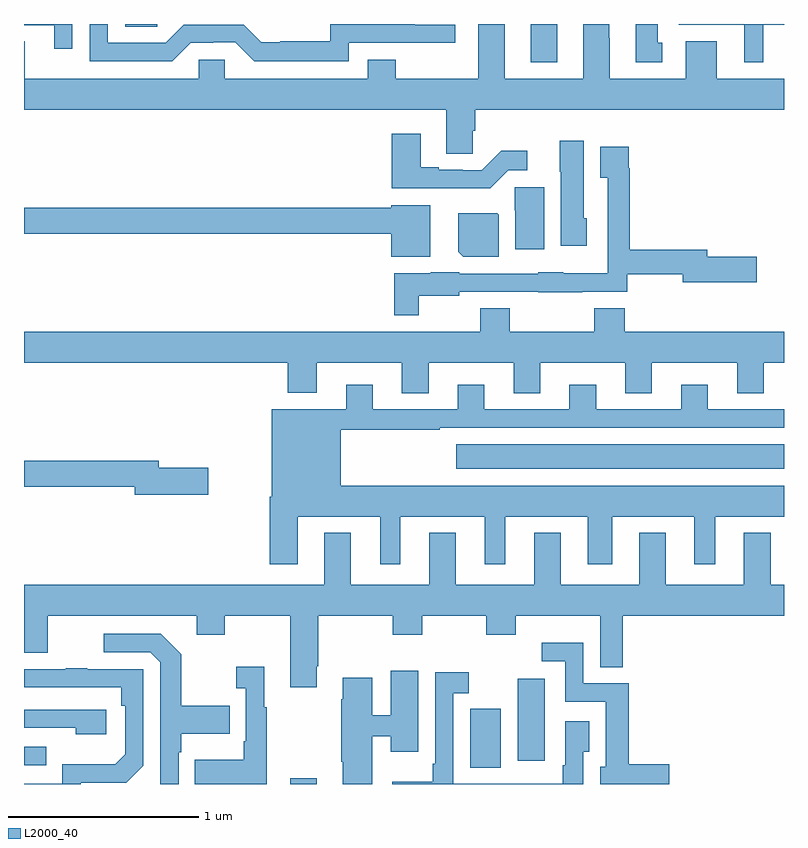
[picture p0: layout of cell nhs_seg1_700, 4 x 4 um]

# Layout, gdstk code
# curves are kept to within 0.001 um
import gdstk
lib = gdstk.Library(unit=1e-6, precision=1e-09)
def R(c, l, rs):  # rectangles x0, y0, x1, y1
    for r in rs: c.add(gdstk.rectangle(r[:2], r[2:], *l))
def P(c, l, *ps):  # polygons
    for p in ps: c.add(gdstk.Polygon(p, *l))
L2000_40 = (2000, 40)

nhs_seg1_700 = lib.new_cell('nhs_seg1_700')
R(nhs_seg1_700, L2000_40, [(150.401,532.199,150.541,532.228), (151.349,532.285,151.51,532.596), (149,532.299,149.117,532.395), (151.598,532.322,151.741,532.753), (151.275,533.858,153,533.986), (151.667,535.997,151.807,536.199), (149.532,536.185,149.701,536.199)])
P(nhs_seg1_700, L2000_40, [(151.362,535.638),(151.376,535.638),(151.376,535.748),(153,535.748),(153,535.912),(152.647,535.912),(152.647,536.107),(152.483,536.107),(152.483,535.912),(152.083,535.912),(152.083,536.123),(152.08,536.123),(152.08,536.199),(151.943,536.199),(151.943,535.912),(151.531,535.912),(151.531,536.199),(151.391,536.199),(151.391,535.912),(150.957,535.912),(150.957,536.011),(150.809,536.011),(150.809,535.912),(150.057,535.912),(150.057,536.01),(149.919,536.01),(149.919,535.912),(149.005,535.912),(149.005,536.107),(149,536.107),(149,535.748),(151.223,535.748),(151.223,535.516),(151.362,535.516)],
  [(150.708,536.1),(151.27,536.1),(151.27,536.196),(151.056,536.196),(151.056,536.199),(150.612,536.199),(150.612,536.107),(150.349,536.107),(150.349,536.103),(150.249,536.103),(150.156,536.196),(149.841,536.196),(149.745,536.1),(149.442,536.1),(149.442,536.199),(149.346,536.199),(149.346,536.004),(149.781,536.004),(149.877,536.1),(149.996,536.1),(149.996,536.103),(150.111,536.103),(150.211,536.003),(150.708,536.003)],
  [(149.255,536.199),(149,536.199),(149,536.193),(149.159,536.193),(149.159,536.07),(149.255,536.07)],
  [(152.359,536.1),(152.335,536.1),(152.335,536.199),(152.219,536.199),(152.219,535.998),(152.359,535.998)],
  [(152.89,536.196),(153,536.196),(153,536.199),(152.445,536.199),(152.445,536.196),(152.792,536.196),(152.792,535.997),(152.89,535.997)],
  [(151.548,535.428),(151.648,535.428),(151.648,535.531),(151.513,535.531),(151.41,535.428),(151.31,535.428),(151.31,535.431),(151.183,535.431),(151.183,535.444),(151.087,535.444),(151.087,535.621),(150.935,535.621),(150.935,535.334),(151.453,535.334)],
  [(151.963,535.176),(151.945,535.176),(151.945,535.585),(151.82,535.585),(151.82,535.422),(151.826,535.422),(151.826,535.032),(151.963,535.032)],
  [(151.078,534.77),(151.29,534.77),(151.29,534.789),(151.707,534.789),(151.707,534.788),(151.939,534.788),(151.939,534.789),(152.174,534.789),(152.174,534.882),(152.468,534.882),(152.468,534.839),(152.857,534.839),(152.857,534.974),(152.596,534.974),(152.596,535.01),(152.189,535.01),(152.189,535.439),(152.182,535.439),(152.182,535.552),(152.033,535.552),(152.033,535.391),(152.073,535.391),(152.073,534.886),(151.839,534.886),(151.839,534.892),(151.707,534.892),(151.707,534.885),(151.29,534.885),(151.29,534.892),(151.14,534.892),(151.14,534.886),(150.949,534.886),(150.949,534.665),(151.078,534.665)],
  [(151.738,535.341),(151.582,535.341),(151.582,535.218),(151.586,535.218),(151.586,535.014),(151.738,535.014)],
  [(151.138,535.246),(150.932,535.246),(150.932,535.232),(149,535.232),(149,535.096),(150.932,535.096),(150.932,534.974),(151.138,534.974)],
  [(151.498,535.196),(151.49,535.204),(151.286,535.204),(151.286,535),(151.312,534.974),(151.498,534.974)],
  [(152.162,534.704),(152.002,534.704),(152.002,534.58),(151.557,534.58),(151.557,534.704),(151.402,534.704),(151.402,534.58),(149,534.58),(149,534.416),(150.389,534.416),(150.389,534.257),(150.541,534.257),(150.541,534.416),(150.989,534.416),(150.989,534.256),(151.129,534.256),(151.129,534.416),(151.577,534.416),(151.577,534.256),(151.717,534.256),(151.717,534.416),(152.165,534.416),(152.165,534.256),(152.305,534.256),(152.305,534.416),(152.753,534.416),(152.753,534.256),(152.893,534.256),(152.893,534.416),(153,534.416),(153,534.58),(152.162,534.58)],
  [(150.442,533.606),(150.875,533.606),(150.875,533.355),(150.979,533.355),(150.979,533.606),(151.424,533.606),(151.424,533.355),(151.534,533.355),(151.534,533.606),(151.967,533.606),(151.967,533.355),(152.095,533.355),(152.095,533.606),(152.528,533.606),(152.528,533.355),(152.638,533.355),(152.638,533.606),(153,533.606),(153,533.77),(150.667,533.77),(150.667,534.063),(151.187,534.063),(151.187,534.075),(153,534.075),(153,534.171),(152.599,534.171),(152.599,534.301),(152.459,534.301),(152.459,534.171),(152.011,534.171),(152.011,534.301),(151.871,534.301),(151.871,534.171),(151.423,534.171),(151.423,534.301),(151.283,534.301),(151.283,534.171),(150.835,534.171),(150.835,534.301),(150.695,534.301),(150.695,534.172),(150.305,534.172),(150.305,533.71),(150.293,533.71),(150.293,533.355),(150.442,533.355)],
  [(149.971,533.864),(149.71,533.864),(149.71,533.9),(149,533.9),(149,533.764),(149.582,533.764),(149.582,533.722),(149.971,533.722)],
  [(149,532.89),(149.125,532.89),(149.125,533.084),(149.909,533.084),(149.909,532.985),(150.057,532.985),(150.057,533.084),(150.401,533.084),(150.401,532.707),(150.541,532.707),(150.541,532.819),(150.549,532.819),(150.549,533.084),(150.94,533.084),(150.94,532.985),(151.095,532.985),(151.095,533.084),(151.432,533.084),(151.432,532.985),(151.587,532.985),(151.587,533.084),(152.033,533.084),(152.033,532.813),(152.152,532.813),(152.152,533.084),(153,533.084),(153,533.248),(152.929,533.248),(152.929,533.521),(152.789,533.521),(152.789,533.248),(152.377,533.248),(152.377,533.521),(152.237,533.521),(152.237,533.248),(151.825,533.248),(151.825,533.521),(151.685,533.521),(151.685,533.248),(151.273,533.248),(151.273,533.521),(151.133,533.521),(151.133,533.248),(150.721,533.248),(150.721,533.521),(150.581,533.521),(150.581,533.248),(149,533.248)],
  [(149.814,532.367),(149.827,532.367),(149.827,532.463),(150.083,532.463),(150.083,532.611),(149.827,532.611),(149.827,532.883),(149.721,532.989),(149.421,532.989),(149.421,532.893),(149.664,532.893),(149.718,532.839),(149.718,532.199),(149.814,532.199)],
  [(152.395,532.304),(152.182,532.304),(152.182,532.728),(151.944,532.728),(151.944,532.942),(151.725,532.942),(151.725,532.845),(151.848,532.845),(151.848,532.632),(152.063,532.632),(152.063,532.291),(152.033,532.291),(152.033,532.199),(152.395,532.199)],
  [(150.277,532.603),(150.265,532.603),(150.265,532.816),(150.117,532.816),(150.117,532.703),(150.168,532.703),(150.168,532.423),(150.156,532.423),(150.156,532.327),(149.899,532.327),(149.899,532.199),(150.277,532.199)],
  [(149.298,532.206),(149.538,532.206),(149.628,532.296),(149.628,532.803),(149.333,532.803),(149.333,532.808),(149.221,532.808),(149.221,532.803),(149,532.803),(149,532.707),(149.512,532.707),(149.512,532.61),(149.532,532.61),(149.532,532.356),(149.479,532.303),(149.202,532.303),(149.202,532.2),(149,532.2),(149.298,532.199)],
  [(150.832,532.45),(150.929,532.45),(150.929,532.368),(151.075,532.368),(151.075,532.795),(150.929,532.795),(150.929,532.561),(150.832,532.561),(150.832,532.759),(150.677,532.759),(150.677,532.646),(150.67,532.646),(150.67,532.315),(150.677,532.315),(150.677,532.199),(150.832,532.199)],
  [(151.944,532.369),(151.975,532.369),(151.975,532.528),(151.848,532.528),(151.848,532.297),(151.836,532.297),(151.836,532.2),(151.26,532.2),(151.26,532.677),(151.342,532.677),(151.342,532.786),(151.164,532.786),(151.164,532.306),(151.152,532.306),(151.152,532.21),(150.939,532.21),(150.939,532.199),(151.944,532.199)],
  [(149.434,532.59),(149,532.59),(149,532.494),(149.273,532.494),(149.273,532.46),(149.434,532.46)])

lib.write_gds('nhs_seg1_700.gds')
